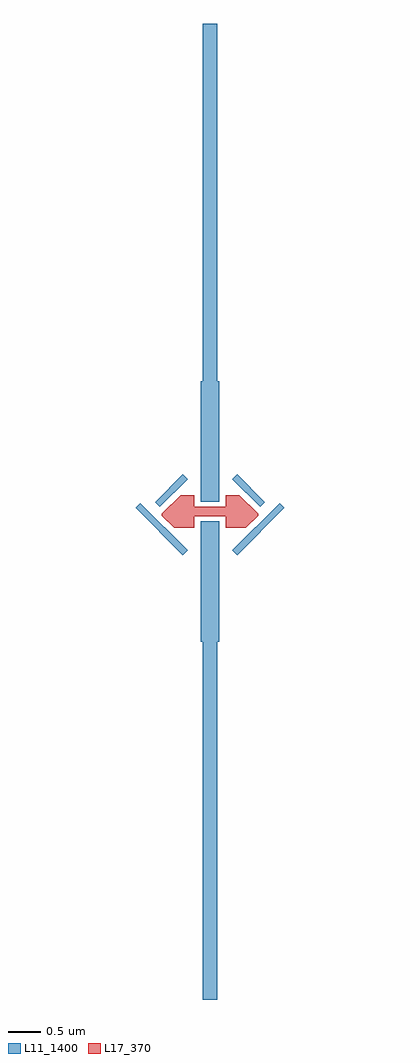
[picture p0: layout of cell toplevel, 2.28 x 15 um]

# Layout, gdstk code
from math import pi, radians
import gdstk
lib = gdstk.Library(unit=1e-6, precision=1e-09)
def R(c, l, rs):  # rectangles x0, y0, x1, y1
    for r in rs: c.add(gdstk.rectangle(r[:2], r[2:], *l))
def P(c, l, *ps):  # polygons
    for p in ps: c.add(gdstk.Polygon(p, *l))
L11_1400 = (11, 1400)
L17_370 = (17, 370)

rectangle = lib.new_cell('rectangle')
R(rectangle, L11_1400, [(0,0,0.28,1.85)])

jj_top = lib.new_cell('JJ Top')
jj_top.add(gdstk.Reference(rectangle, (-0.14,0.15)))

rectangle002 = lib.new_cell('rectangle002')
R(rectangle002, L11_1400, [(0,0,0.28,1.85)])

jj_bot = lib.new_cell('JJ Bot')
jj_bot.add(gdstk.Reference(rectangle002, (-0.14,-2)))

rectangle003 = lib.new_cell('rectangle003')
R(rectangle003, L11_1400, [(0,0,0.22,5.5)])

top_arm = lib.new_cell('Top Arm')
top_arm.add(gdstk.Reference(rectangle003, (-0.11,2)))

rectangle004 = lib.new_cell('rectangle004')
R(rectangle004, L11_1400, [(0,0,0.22,5.5)])

bot_arm = lib.new_cell('Bot Arm')
bot_arm.add(gdstk.Reference(rectangle004, (-0.11,-7.5)))

junction = lib.new_cell('Junction')
junction.add(gdstk.Reference(jj_top, (0,0)))
junction.add(gdstk.Reference(jj_bot, (0,0)))
junction.add(gdstk.Reference(top_arm, (0,0)))
junction.add(gdstk.Reference(bot_arm, (0,0)))

rectangle005 = lib.new_cell('rectangle005')
P(rectangle005, L11_1400, [(0.416,0.57),(0.84,0.146),(0.769,0.075),(0.345,0.499)])

rectangle006 = lib.new_cell('rectangle006')
P(rectangle006, L11_1400, [(0.416,0.67),(1.14,-0.054),(1.069,-0.125),(0.345,0.599)])

boolean = lib.new_cell('boolean')
P(boolean, L17_370, [(-0.24,-0.075),(0.24,-0.075),(0.24,-0.25),(0.553,-0.25),(0.74,-0.063),(0.74,-0.037),(0.453,0.25),(0.24,0.25),(0.24,0.075),(-0.24,0.075),(-0.24,0.25),(-0.453,0.25),(-0.74,-0.037),(-0.74,-0.063),(-0.553,-0.25),(-0.24,-0.25)])

h_undercut_with_asymmetr = lib.new_cell('H undercut with asymmetric s')
h_undercut_with_asymmetr.add(gdstk.Reference(rectangle005, (0,0)))
h_undercut_with_asymmetr.add(gdstk.Reference(rectangle006, (0,0), x_reflection=True))
h_undercut_with_asymmetr.add(gdstk.Reference(rectangle005, (0,0), rotation=pi, x_reflection=True))
h_undercut_with_asymmetr.add(gdstk.Reference(rectangle006, (0,0), rotation=pi))
h_undercut_with_asymmetr.add(gdstk.Reference(boolean, (0,0)))

toplevel = lib.new_cell('toplevel')
toplevel.add(gdstk.Reference(junction, (0,0)))
toplevel.add(gdstk.Reference(h_undercut_with_asymmetr, (0,0)))

lib.write_gds('toplevel.gds')
